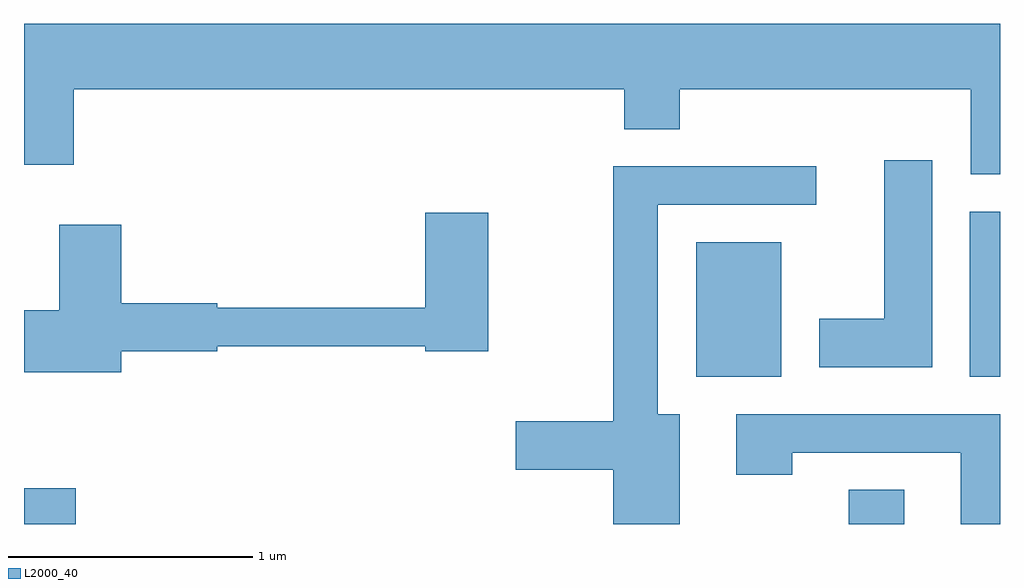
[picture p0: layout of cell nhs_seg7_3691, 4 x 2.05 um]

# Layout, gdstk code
import gdstk
lib = gdstk.Library(unit=1e-6, precision=1e-09)
def R(c, l, rs):  # rectangles x0, y0, x1, y1
    for r in rs: c.add(gdstk.rectangle(r[:2], r[2:], *l))
def P(c, l, *ps):  # polygons
    for p in ps: c.add(gdstk.Polygon(p, *l))
L2000_40 = (2000, 40)

nhs_seg7_3691 = lib.new_cell('nhs_seg7_3691')
R(nhs_seg7_3691, L2000_40, [(297.611,1770.252,297.823,1770.399), (300.991,1770.252,301.219,1770.394), (300.366,1770.856,300.714,1771.409), (301.486,1770.856,301.611,1771.534)])
P(nhs_seg7_3691, L2000_40, [(301.611,1772.304),(297.611,1772.304),(297.611,1771.726),(297.814,1771.726),(297.814,1772.036),(300.071,1772.036),(300.071,1771.871),(300.299,1771.871),(300.299,1772.036),(301.491,1772.036),(301.491,1771.686),(301.611,1771.686)],
  [(301.334,1771.744),(301.136,1771.744),(301.136,1771.094),(300.871,1771.094),(300.871,1770.896),(301.334,1770.896)],
  [(300.299,1770.704),(300.209,1770.704),(300.209,1771.561),(300.858,1771.561),(300.858,1771.719),(300.026,1771.719),(300.026,1770.674),(299.626,1770.674),(299.626,1770.476),(300.026,1770.476),(300.026,1770.252),(300.299,1770.252)],
  [(298.009,1770.961),(298.404,1770.961),(298.404,1770.981),(299.256,1770.981),(299.256,1770.961),(299.514,1770.961),(299.514,1771.529),(299.256,1771.529),(299.256,1771.139),(298.404,1771.139),(298.404,1771.159),(298.009,1771.159),(298.009,1771.479),(297.756,1771.479),(297.756,1771.129),(297.611,1771.129),(297.611,1770.876),(298.009,1770.876)],
  [(301.611,1770.704),(300.531,1770.704),(300.531,1770.456),(300.759,1770.456),(300.759,1770.546),(301.451,1770.546),(301.451,1770.252),(301.611,1770.252)])

lib.write_gds('nhs_seg7_3691.gds')
